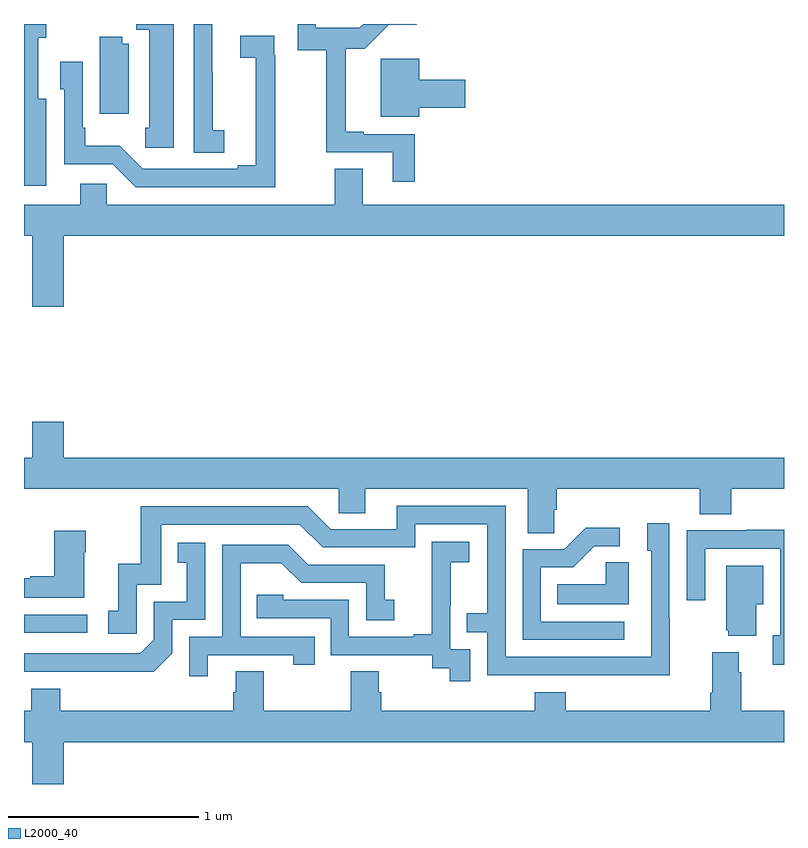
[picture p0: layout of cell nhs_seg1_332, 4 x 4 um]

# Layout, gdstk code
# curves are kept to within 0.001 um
import gdstk
lib = gdstk.Library(unit=1e-6, precision=1e-09)
def R(c, l, rs):  # rectangles x0, y0, x1, y1
    for r in rs: c.add(gdstk.rectangle(r[:2], r[2:], *l))
def P(c, l, *ps):  # polygons
    for p in ps: c.add(gdstk.Polygon(p, *l))
L2000_40 = (2000, 40)

nhs_seg1_332 = lib.new_cell('nhs_seg1_332')
R(nhs_seg1_332, L2000_40, [(129,530.994,129.334,531.09)])
P(nhs_seg1_332, L2000_40, [(131.057,533.619),(130.789,533.619),(130.789,533.632),(130.694,533.632),(130.694,534.069),(130.793,534.069),(130.919,534.194),(131.068,534.194),(131.068,534.199),(130.786,534.199),(130.765,534.178),(130.536,534.178),(130.536,534.199),(130.44,534.199),(130.44,534.061),(130.591,534.061),(130.591,533.523),(130.94,533.523),(130.94,533.37),(131.057,533.37)],
  [(130.054,533.641),(129.993,533.641),(129.993,533.945),(129.991,533.945),(129.991,534.199),(129.894,534.199),(129.894,533.521),(130.054,533.521)],
  [(129.787,534.199),(129.591,534.199),(129.591,534.168),(129.659,534.168),(129.659,533.652),(129.637,533.652),(129.637,533.547),(129.787,533.547)],
  [(129.118,533.806),(129.076,533.806),(129.076,534.127),(129.118,534.127),(129.118,534.199),(129,534.199),(129,533.349),(129.118,533.349)],
  [(130.322,534.035),(130.316,534.035),(130.316,534.137),(130.137,534.137),(130.137,534.022),(130.219,534.022),(130.22,533.456),(130.124,533.456),(130.124,533.436),(129.624,533.436),(129.503,533.557),(129.322,533.557),(129.322,533.653),(129.309,533.653),(129.309,534.001),(129.192,534.001),(129.192,533.856),(129.213,533.856),(129.213,533.46),(129.468,533.46),(129.588,533.34),(130.322,533.34)],
  [(129.55,534.094),(129.518,534.094),(129.518,534.131),(129.398,534.131),(129.398,533.727),(129.55,533.727)],
  [(131.08,533.759),(131.323,533.759),(131.323,533.906),(131.08,533.906),(131.08,534.016),(130.877,534.016),(130.877,533.711),(131.08,533.711)],
  [(129.208,533.084),(133,533.084),(133,533.248),(130.783,533.248),(130.783,533.438),(130.636,533.438),(130.636,533.248),(129.435,533.248),(129.435,533.358),(129.296,533.358),(129.296,533.248),(129,533.248),(129,533.084),(129.044,533.084),(129.044,532.71),(129.208,532.71)],
  [(131.79,531.643),(131.804,531.643),(131.804,531.752),(132.557,531.752),(132.557,531.619),(132.722,531.619),(132.722,531.752),(133,531.752),(133,531.916),(129.208,531.916),(129.208,532.105),(129.044,532.105),(129.044,531.916),(129,531.916),(129,531.752),(130.656,531.752),(130.656,531.625),(130.795,531.625),(130.795,531.752),(131.651,531.752),(131.651,531.52),(131.79,531.52)],
  [(132.399,531.077),(132.396,531.077),(132.396,531.571),(132.281,531.571),(132.281,531.426),(132.3,531.426),(132.3,530.868),(131.535,530.868),(131.535,531.663),(130.961,531.663),(130.961,531.54),(130.614,531.54),(130.494,531.66),(129.614,531.66),(129.614,531.358),(129.497,531.358),(129.497,531.111),(129.444,531.111),(129.444,530.991),(129.594,530.991),(129.594,531.249),(129.723,531.249),(129.723,531.564),(130.452,531.564),(130.572,531.444),(131.058,531.444),(131.058,531.567),(131.439,531.567),(131.439,531.098),(131.329,531.098),(131.329,530.997),(131.439,530.997),(131.439,530.772),(132.399,530.771)],
  [(132.16,531.054),(131.721,531.054),(131.721,531.339),(131.89,531.339),(132.001,531.45),(132.136,531.45),(132.136,531.548),(131.957,531.548),(131.844,531.435),(131.625,531.435),(131.625,530.958),(132.16,530.958)],
  [(133,531.536),(132.805,531.536),(132.805,531.534),(132.489,531.534),(132.489,531.165),(132.585,531.165),(132.585,531.438),(132.981,531.438),(132.981,530.982),(132.941,530.982),(132.941,530.826),(133,530.826)],
  [(129.316,531.419),(129.324,531.419),(129.324,531.532),(129.158,531.532),(129.158,531.293),(129.032,531.293),(129.032,531.283),(129,531.283),(129,531.179),(129.316,531.179)],
  [(131.349,530.907),(131.244,530.907),(131.244,531.137),(131.246,531.137),(131.246,531.365),(131.344,531.365),(131.344,531.475),(131.146,531.475),(131.146,531.269),(131.147,531.269),(131.147,530.986),(131.051,530.986),(131.051,530.973),(130.71,530.973),(130.71,531.168),(130.365,531.168),(130.365,531.195),(130.225,531.195),(130.225,531.072),(130.614,531.072),(130.614,530.877),(131.148,530.877),(131.148,530.809),(131.241,530.809),(131.241,530.739),(131.349,530.739)],
  [(129.78,530.886),(129.78,531.063),(129.954,531.063),(129.954,531.469),(129.808,531.469),(129.808,531.363),(129.857,531.363),(129.857,531.159),(129.684,531.159),(129.684,530.958),(129.612,530.886),(129,530.886),(129,530.79),(129.682,530.789)],
  [(129.967,530.877),(130.418,530.877),(130.418,530.826),(130.529,530.826),(130.529,530.973),(130.14,530.973),(130.14,531.362),(130.354,531.362),(130.458,531.258),(130.8,531.258),(130.8,531.06),(130.948,531.06),(130.948,531.169),(130.899,531.169),(130.899,531.354),(130.495,531.354),(130.39,531.459),(130.044,531.459),(130.044,530.973),(129.87,530.973),(129.87,530.766),(129.967,530.766)],
  [(132.184,531.365),(132.063,531.365),(132.063,531.25),(131.806,531.25),(131.806,531.146),(132.184,531.146)],
  [(132.853,531.146),(132.892,531.146),(132.892,531.349),(132.695,531.349),(132.695,531.009),(132.707,531.009),(132.707,530.978),(132.853,530.978)],
  [(133,530.584),(132.776,530.584),(132.776,530.786),(132.763,530.786),(132.763,530.893),(132.623,530.893),(132.623,530.68),(132.611,530.68),(132.611,530.584),(131.852,530.584),(131.852,530.683),(131.687,530.683),(131.687,530.584),(130.88,530.584),(130.88,530.682),(130.867,530.682),(130.867,530.792),(130.72,530.792),(130.72,530.584),(130.263,530.584),(130.263,530.792),(130.115,530.792),(130.115,530.682),(130.102,530.682),(130.102,530.584),(129.191,530.584),(129.191,530.701),(129.038,530.701),(129.038,530.584),(129,530.584),(129,530.42),(129.044,530.42),(129.044,530.199),(129.208,530.199),(129.208,530.42),(133,530.42)])

lib.write_gds('nhs_seg1_332.gds')
